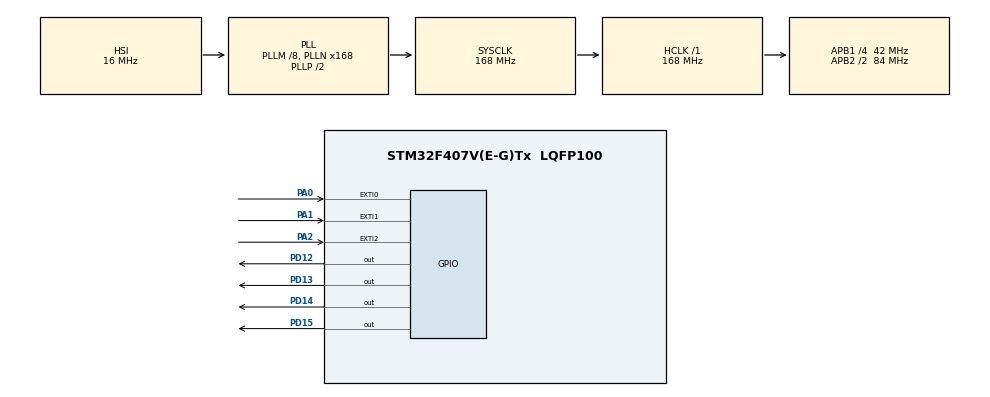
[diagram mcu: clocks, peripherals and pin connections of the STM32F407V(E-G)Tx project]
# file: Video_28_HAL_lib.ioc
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Mcu.Family=STM32F4
Mcu.Name=STM32F407V(E-G)Tx
Mcu.Package=LQFP100
NVIC.EXTI0_IRQn=true\:0\:0\:false\:false\:true\:true\:true
NVIC.EXTI1_IRQn=true\:0\:0\:false\:false\:true\:true\:true
NVIC.EXTI2_IRQn=true\:0\:0\:false\:false\:true\:true\:true
NVIC.PriorityGroup=NVIC_PRIORITYGROUP_4
PA0-WKUP.GPIO_PuPd=GPIO_PULLDOWN
PA0-WKUP.Signal=GPXTI0
PA1.GPIO_PuPd=GPIO_PULLDOWN
PA1.Signal=GPXTI1
PA2.GPIO_ModeDefaultEXTI=GPIO_MODE_IT_RISING
PA2.GPIO_PuPd=GPIO_PULLDOWN
PA2.Signal=GPXTI2
PD12.GPIO_Speed=GPIO_SPEED_FREQ_VERY_HIGH
PD12.Signal=GPIO_Output
PD13.GPIO_Speed=GPIO_SPEED_FREQ_VERY_HIGH
PD13.Signal=GPIO_Output
PD14.GPIO_Speed=GPIO_SPEED_FREQ_VERY_HIGH
PD14.Signal=GPIO_Output
PD15.GPIO_Speed=GPIO_SPEED_FREQ_VERY_HIGH
PD15.Signal=GPIO_Output
PH0-OSC_IN.Mode=HSE-External-Oscillator
PH0-OSC_IN.Signal=RCC_OSC_IN
PH1-OSC_OUT.Mode=HSE-External-Oscillator
PH1-OSC_OUT.Signal=RCC_OSC_OUT
ProjectManager.HeapSize=0x200
ProjectManager.StackSize=0x400
ProjectManager.TargetToolchain=TrueSTUDIO
RCC.48MHZClocksFreq_Value=84000000
RCC.AHBFreq_Value=168000000
RCC.APB1CLKDivider=RCC_HCLK_DIV4
RCC.APB1Freq_Value=42000000
RCC.APB1TimFreq_Value=84000000
RCC.APB2CLKDivider=RCC_HCLK_DIV2
RCC.APB2Freq_Value=84000000
RCC.APB2TimFreq_Value=168000000
RCC.CortexFreq_Value=168000000
RCC.HCLKFreq_Value=168000000
RCC.HSE_VALUE=8000000
RCC.HSI_VALUE=16000000
RCC.LSE_VALUE=32768
RCC.PLLM=8
RCC.PLLN=168
RCC.SYSCLKFreq_VALUE=168000000
RCC.SYSCLKSource=RCC_SYSCLKSOURCE_PLLCLK
RCC.VCOOutputFreq_Value=336000000
board=custom

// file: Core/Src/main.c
/* USER CODE BEGIN Header */
/**
  ******************************************************************************
  * @file           : main.c
  * @brief          : Main program body
  ******************************************************************************
  * @attention
  *
  * <h2><center>&copy; Copyright (c) 2022 STMicroelectronics.
  * All rights reserved.</center></h2>
  *
  * This software component is licensed by ST under BSD 3-Clause license,
  * the "License"; You may not use this file except in compliance with the
  * License. You may obtain a copy of the License at:
  *                        opensource.org/licenses/BSD-3-Clause
  *
  ******************************************************************************
  */
/* USER CODE END Header */
#include "main.h"

/* USER CODE BEGIN Includes */
int count = 0, i = 0;
/* USER CODE END Includes */

void SystemClock_Config(void);
static void MX_GPIO_Init(void);

/* USER CODE BEGIN 0 */
void HAL_GPIO_EXTI_Callback(uint16_t GPIO_Pin)
{
	i++;
	if(HAL_GPIO_ReadPin(GPIOA, GPIO_PIN_0))
	{
		HAL_GPIO_TogglePin(GPIOD, GPIO_PIN_All);
		if(i == 1)
		{
			count = 1000; // çok yavaþ yanýp sönecek ledler
		}
		else if(i == 2)
		{
			count = 750;
		}
		else if(i == 3)
		{
			count = 500;
		}
		else
		{
			count = 250; // hýzlý yanýp sönecek ledler
			i = 0;
		}
	}
	else if(HAL_GPIO_ReadPin(GPIOA, GPIO_PIN_1))
	{
		HAL_GPIO_WritePin(GPIOD, GPIO_PIN_All, GPIO_PIN_RESET);
		HAL_GPIO_WritePin(GPIOD, GPIO_PIN_13, GPIO_PIN_SET);
		if(i == 1)
		{
			count = 1000; // çok yavaþ yanýp sönecek ledler
		}
		else if(i == 2)
		{
			count = 750;
		}
		else if(i == 3)
		{
			count = 500;
		}
		else
		{
			count = 250; // hýzlý yanýp sönecek ledler
			i = 0;
		}
	}
	else if(HAL_GPIO_ReadPin(GPIOA, GPIO_PIN_2))
	{
		HAL_GPIO_WritePin(GPIOD, GPIO_PIN_All, GPIO_PIN_RESET);
		HAL_GPIO_WritePin(GPIOD, GPIO_PIN_14, GPIO_PIN_SET);
		if(i == 1)
		{
			count = 1000; // çok yavaþ yanýp sönecek ledler
		}
		else if(i == 2)
		{
			count = 750;
		}
		else if(i == 3)
		{
			count = 500;
		}
		else
		{
			count = 250; // hýzlý yanýp sönecek ledler
			i = 0;
		}
	}
	else
		count = 2000;

}
/* USER CODE END 0 */

int main(void)
{

  /* MCU Configuration--------------------------------------------------------*/

  /* Reset of all peripherals, Initializes the Flash interface and the Systick. */
  HAL_Init();

  /* Configure the system clock */
  SystemClock_Config();

  /* Initialize all configured peripherals */
  MX_GPIO_Init();

  /* Infinite loop */
  while (1)
  {

    /* USER CODE BEGIN 3 */
	  //HAL_GPIO_TogglePin(GPIOD, GPIO_PIN_All);
	  //HAL_GPIO_WritePin(GPIOD, GPIO_PIN_All, GPIO_PIN_SET);
	  HAL_Delay(count);
  }
  /* USER CODE END 3 */
}

void SystemClock_Config(void)
{
  RCC_OscInitTypeDef RCC_OscInitStruct = {0};
  RCC_ClkInitTypeDef RCC_ClkInitStruct = {0};

  /** Configure the main internal regulator output voltage
  */
  __HAL_RCC_PWR_CLK_ENABLE();
  __HAL_PWR_VOLTAGESCALING_CONFIG(PWR_REGULATOR_VOLTAGE_SCALE1);
  /** Initializes the RCC Oscillators according to the specified parameters
  * in the RCC_OscInitTypeDef structure.
  */
  RCC_OscInitStruct.OscillatorType = RCC_OSCILLATORTYPE_HSI;
  RCC_OscInitStruct.HSIState = RCC_HSI_ON;
  RCC_OscInitStruct.HSICalibrationValue = RCC_HSICALIBRATION_DEFAULT;
  RCC_OscInitStruct.PLL.PLLState = RCC_PLL_ON;
  RCC_OscInitStruct.PLL.PLLSource = RCC_PLLSOURCE_HSI;
  RCC_OscInitStruct.PLL.PLLM = 8;
  RCC_OscInitStruct.PLL.PLLN = 168;
  RCC_OscInitStruct.PLL.PLLP = RCC_PLLP_DIV2;
  RCC_OscInitStruct.PLL.PLLQ = 4;
  if (HAL_RCC_OscConfig(&RCC_OscInitStruct) != HAL_OK)
  {
    Error_Handler();
  }
  /** Initializes the CPU, AHB and APB buses clocks
  */
  RCC_ClkInitStruct.ClockType = RCC_CLOCKTYPE_HCLK|RCC_CLOCKTYPE_SYSCLK
                              |RCC_CLOCKTYPE_PCLK1|RCC_CLOCKTYPE_PCLK2;
  RCC_ClkInitStruct.SYSCLKSource = RCC_SYSCLKSOURCE_PLLCLK;
  RCC_ClkInitStruct.AHBCLKDivider = RCC_SYSCLK_DIV1;
  RCC_ClkInitStruct.APB1CLKDivider = RCC_HCLK_DIV4;
  RCC_ClkInitStruct.APB2CLKDivider = RCC_HCLK_DIV2;

  if (HAL_RCC_ClockConfig(&RCC_ClkInitStruct, FLASH_LATENCY_5) != HAL_OK)
  {
    Error_Handler();
  }
}

static void MX_GPIO_Init(void)
{
  GPIO_InitTypeDef GPIO_InitStruct = {0};

  /* GPIO Ports Clock Enable */
  __HAL_RCC_GPIOH_CLK_ENABLE();
  __HAL_RCC_GPIOA_CLK_ENABLE();
  __HAL_RCC_GPIOD_CLK_ENABLE();

  /*Configure GPIO pin Output Level */
  HAL_GPIO_WritePin(GPIOD, GPIO_PIN_12|GPIO_PIN_13|GPIO_PIN_14|GPIO_PIN_15, GPIO_PIN_RESET);

  /*Configure GPIO pins : PA0 PA1 PA2 */
  GPIO_InitStruct.Pin = GPIO_PIN_0|GPIO_PIN_1|GPIO_PIN_2;
  GPIO_InitStruct.Mode = GPIO_MODE_IT_RISING;
  GPIO_InitStruct.Pull = GPIO_PULLDOWN;
  HAL_GPIO_Init(GPIOA, &GPIO_InitStruct);

  /*Configure GPIO pins : PD12 PD13 PD14 PD15 */
  GPIO_InitStruct.Pin = GPIO_PIN_12|GPIO_PIN_13|GPIO_PIN_14|GPIO_PIN_15;
  GPIO_InitStruct.Mode = GPIO_MODE_OUTPUT_PP;
  GPIO_InitStruct.Pull = GPIO_NOPULL;
  GPIO_InitStruct.Speed = GPIO_SPEED_FREQ_VERY_HIGH;
  HAL_GPIO_Init(GPIOD, &GPIO_InitStruct);

  /* EXTI interrupt init*/
  HAL_NVIC_SetPriority(EXTI0_IRQn, 0, 0);
  HAL_NVIC_EnableIRQ(EXTI0_IRQn);

  HAL_NVIC_SetPriority(EXTI1_IRQn, 0, 0);
  HAL_NVIC_EnableIRQ(EXTI1_IRQn);

  HAL_NVIC_SetPriority(EXTI2_IRQn, 0, 0);
  HAL_NVIC_EnableIRQ(EXTI2_IRQn);

}

void Error_Handler(void)
{
  __disable_irq();
  while (1)
  {
  }
}

/************************ (C) COPYRIGHT STMicroelectronics *****END OF FILE****/
